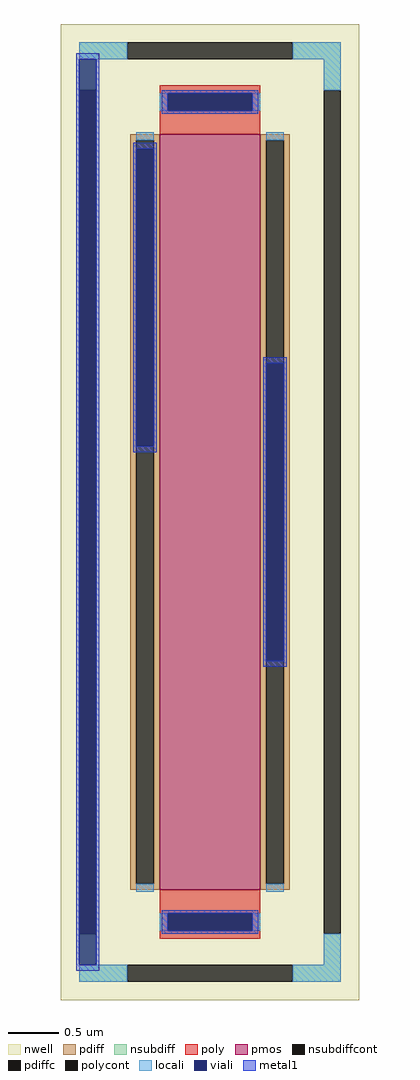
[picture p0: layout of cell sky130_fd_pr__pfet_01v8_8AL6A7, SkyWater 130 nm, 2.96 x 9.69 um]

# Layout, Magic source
magic
tech sky130A
magscale 1 2
<< nwell >>
rect -296 -969 296 969
<< pmos >>
rect -100 -750 100 750
<< pdiff >>
rect -158 738 -100 750
rect -158 -738 -146 738
rect -112 -738 -100 738
rect -158 -750 -100 -738
rect 100 738 158 750
rect 100 -738 112 738
rect 146 -738 158 738
rect 100 -750 158 -738
<< pdiffc >>
rect -146 -738 -112 738
rect 112 -738 146 738
<< nsubdiff >>
rect -260 899 -164 933
rect 164 899 260 933
rect -260 837 -226 899
rect 226 837 260 899
rect -260 -899 -226 -837
rect 226 -899 260 -837
rect -260 -933 -164 -899
rect 164 -933 260 -899
<< nsubdiffcont >>
rect -164 899 164 933
rect -260 -837 -226 837
rect 226 -837 260 837
rect -164 -933 164 -899
<< poly >>
rect -100 831 100 847
rect -100 797 -84 831
rect 84 797 100 831
rect -100 750 100 797
rect -100 -797 100 -750
rect -100 -831 -84 -797
rect 84 -831 100 -797
rect -100 -847 100 -831
<< polycont >>
rect -84 797 84 831
rect -84 -831 84 -797
<< locali >>
rect -260 899 -164 933
rect 164 899 260 933
rect 226 837 260 899
rect -100 797 -84 831
rect 84 797 100 831
rect -146 738 -112 754
rect -146 -754 -112 -738
rect 112 738 146 754
rect 112 -754 146 -738
rect -100 -831 -84 -797
rect 84 -831 100 -797
rect 226 -899 260 -837
rect -260 -933 -164 -899
rect 164 -933 260 -899
<< viali >>
rect -260 837 -226 899
rect -260 -837 -226 837
rect -84 797 84 831
rect -146 131 -112 721
rect 112 -295 146 295
rect -84 -831 84 -797
rect -260 -899 -226 -837
<< metal1 >>
rect -266 899 -220 911
rect -266 -899 -260 899
rect -226 -899 -220 899
rect -96 831 96 837
rect -96 797 -84 831
rect 84 797 96 831
rect -96 791 96 797
rect -152 721 -106 733
rect -152 131 -146 721
rect -112 131 -106 721
rect -152 119 -106 131
rect 106 295 152 307
rect 106 -295 112 295
rect 146 -295 152 295
rect 106 -307 152 -295
rect -96 -797 96 -791
rect -96 -831 -84 -797
rect 84 -831 96 -797
rect -96 -837 96 -831
rect -266 -911 -220 -899
<< properties >>
string FIXED_BBOX -243 -916 243 916
string gencell sky130_fd_pr__pfet_01v8
string library sky130
string parameters w 7.5 l 1.0 m 1 nf 1 diffcov 100 polycov 100 guard 1 glc 1 grc 1 gtc 1 gbc 1 tbcov 100 rlcov 100 topc 1 botc 1 poverlap 0 doverlap 1 lmin 0.15 wmin 0.42 compatible {sky130_fd_pr__pfet_01v8  sky130_fd_pr__pfet_01v8_lvt sky130_fd_pr__pfet_01v8_hvt  sky130_fd_pr__pfet_g5v0d10v5} full_metal 1 viasrc 40 viadrn -40 viagate 100 viagb 0 viagr 0 viagl 100 viagt 0
<< end >>
